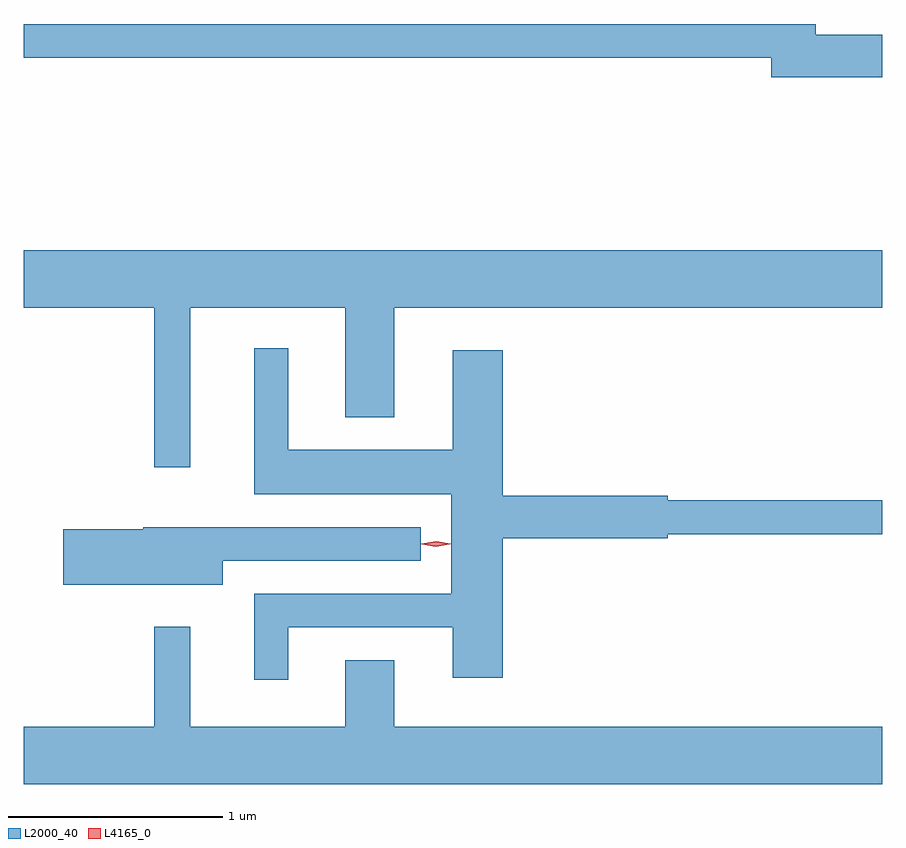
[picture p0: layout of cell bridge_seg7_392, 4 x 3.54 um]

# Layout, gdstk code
import gdstk
lib = gdstk.Library(unit=1e-6, precision=1e-09)
def P(c, l, *ps):  # polygons
    for p in ps: c.add(gdstk.Polygon(p, *l))
L2000_40 = (2000, 40)
L4165_0 = (4165, 0)

bridge_seg7_392 = lib.new_cell('bridge_seg7_392')
P(bridge_seg7_392, L2000_40, [(1063.083,1795.509),(1062.774,1795.509),(1062.774,1795.559),(1059.083,1795.559),(1059.083,1795.401),(1062.566,1795.401),(1062.566,1795.311),(1063.083,1795.311)],
  [(1059.859,1794.236),(1060.581,1794.236),(1060.581,1793.726),(1060.809,1793.726),(1060.809,1794.236),(1063.083,1794.236),(1063.083,1794.504),(1059.083,1794.504),(1059.083,1794.236),(1059.691,1794.236),(1059.691,1793.493),(1059.859,1793.493)],
  [(1060.314,1792.746),(1061.081,1792.746),(1061.081,1792.511),(1061.314,1792.511),(1061.314,1793.161),(1062.084,1793.161),(1062.084,1793.181),(1063.083,1793.181),(1063.083,1793.339),(1062.084,1793.339),(1062.084,1793.359),(1061.314,1793.359),(1061.314,1794.039),(1061.081,1794.039),(1061.081,1793.574),(1060.314,1793.574),(1060.314,1794.048),(1060.156,1794.048),(1060.156,1793.366),(1061.076,1793.366),(1061.076,1792.904),(1060.156,1792.904),(1060.156,1792.503),(1060.314,1792.503)],
  [(1060.009,1793.056),(1060.933,1793.056),(1060.933,1793.214),(1059.64,1793.214),(1059.64,1793.204),(1059.266,1793.204),(1059.266,1792.946),(1060.009,1792.946)],
  [(1063.083,1792.284),(1060.809,1792.284),(1060.809,1792.594),(1060.581,1792.594),(1060.581,1792.284),(1059.859,1792.284),(1059.859,1792.748),(1059.691,1792.748),(1059.691,1792.284),(1059.083,1792.284),(1059.083,1792.016),(1063.083,1792.016)])
P(bridge_seg7_392, L4165_0, [(1061.003,1793.123),(1060.938,1793.133),(1060.937,1793.133),(1060.938,1793.134),(1061.003,1793.143),(1061.068,1793.134),(1061.068,1793.133),(1061.068,1793.133)],
  [(1061.004,1793.127),(1060.934,1793.136),(1060.934,1793.136),(1060.934,1793.137),(1061.004,1793.147),(1061.072,1793.137),(1061.073,1793.137),(1061.072,1793.136)])

lib.write_gds('bridge_seg7_392.gds')
